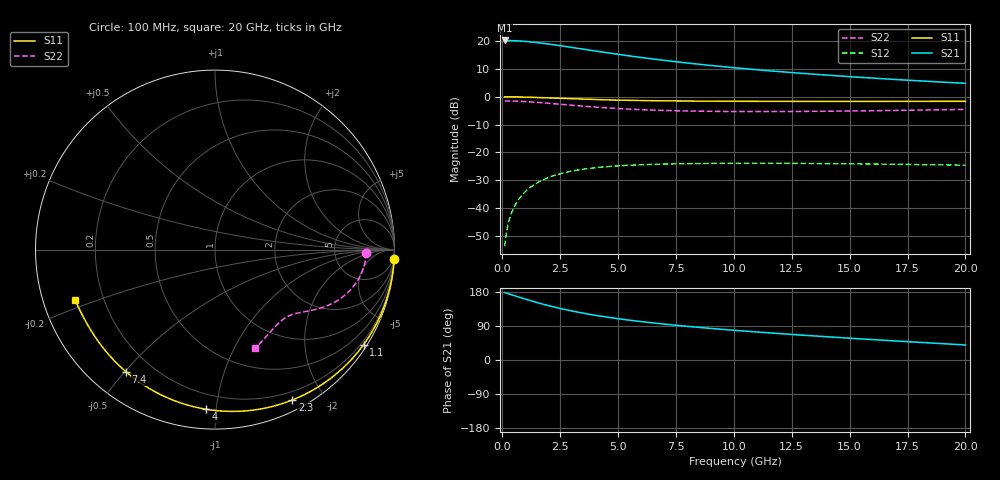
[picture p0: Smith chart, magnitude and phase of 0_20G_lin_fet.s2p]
! Created Fri Aug 22 10:02:00 2025
# hz S ri R 50
! 2 Port Network Data from SP1.SP block
! freq  reS11  imS11  reS21  imS21  reS12  imS12  reS22  imS22
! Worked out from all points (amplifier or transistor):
!   200 points, 100 MHz to 20 GHz, reference 50 ohm
!   highest |S21| = 20.3 dB at 100 MHz (marker M1)
!   |S21| within 3 dB of that: start of sweep to 3.395 GHz
!   unconditionally stable (mu >= 1): nowhere
!   at 3.4 GHz: K = 0.18, MSG = 21.7 dB, |S12| = -26.2 dB
!   at 10.1 GHz: K = 0.52, MSG = 17.2 dB, |S12| = -23.9 dB
!   at 20 GHz: K = 0.93, MSG = 14.7 dB, |S12| = -24.6 dB
!   lowest NFmin = 0.00 dB at 100 MHz
!   S11 on the Smith chart (normalised r, x): 100 MHz: 0, -38; 1.1 GHz: 0.11, -3.42; 2.3 GHz: 0.11, -1.63; 4 GHz: 0.11, -0.94; 7.4 GHz: 0.11, -0.50; 20 GHz: 0.10, -0.17
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1e8  0.9984 -0.0531  -10.3 0.358  6.01e-05 0.00206  0.8431 -0.0165
2e8  0.9938 -0.106  -10.26 0.7141  0.00024 0.0041  0.8419 -0.0329
4e8  0.9753 -0.2097  -10.14 1.413  0.000949 0.00812  0.837 -0.0651
7e8  0.9263 -0.3569  -9.803 2.404  0.00283 0.0138  0.824 -0.1114
1.1e9  0.8283 -0.5291  -9.135 3.561  0.00659 0.0205  0.7979 -0.1666
1.4e9  0.7374 -0.6359  -8.515 4.277  0.0101 0.0246  0.7737 -0.2022
1.7e9  0.6378 -0.7224  -7.836 4.852  0.0139 0.028  0.7471 -0.2324
2e9  0.5345 -0.789  -7.132 5.294  0.0178 0.0306  0.7195 -0.2573
2.3e9  0.4316 -0.8377  -6.43 5.612  0.0218 0.0325  0.6919 -0.2776
2.9e9  0.2377 -0.8907  -5.11 5.946  0.0292 0.0346  0.6397 -0.3064
3.5e9  0.0688 -0.9011  -3.962 5.989  0.0356 0.035  0.5938 -0.324
4e9  -0.0507 -0.8893  -3.151 5.885  0.04 0.0346  0.561 -0.3332
4.6e9  -0.1704 -0.861  -2.34 5.664  0.0445 0.0336  0.5276 -0.3405
5.3e9  -0.2822 -0.8181  -1.586 5.339  0.0486 0.032  0.4956 -0.3465
6e9  -0.3701 -0.7715  -0.9954 4.989  0.0518 0.0303  0.4695 -0.3514
6.8e9  -0.4484 -0.7188  -0.4739 4.593  0.0545 0.0283  0.4452 -0.3572
7.4e9  -0.4952 -0.6813  -0.1648 4.31  0.056 0.027  0.4297 -0.362
8.6e9  -0.5669 -0.6129  0.3006 3.791  0.0582 0.0245  0.4037 -0.3732
1.01e10  -0.6287 -0.5406  0.6877 3.232  0.0597 0.022  0.377 -0.3905
1.34e10  -0.7078 -0.4225  1.131 2.292  0.0604 0.0183  0.327 -0.4381
1.67e10  -0.7509 -0.3416  1.301 1.62  0.0591 0.0165  0.2775 -0.4929
2e10  -0.7789 -0.2823  1.344 1.115  0.0566 0.016  0.223 -0.5498
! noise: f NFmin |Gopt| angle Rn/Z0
1e+08  0.001089  0.9958  0.1476  0.0602
2.3e+09  0.02351  0.9082  3.377  0.06012
4.5e+09  0.04313  0.8271  6.506  0.05987
6.7e+09  0.06028  0.7512  9.441  0.05945
8.9e+09  0.07534  0.6795  12.09  0.05889
1.11e+10  0.08874  0.6109  14.37  0.05821
1.33e+10  0.1009  0.5449  16.18  0.05743
1.55e+10  0.1124  0.4808  17.43  0.05658
1.77e+10  0.1237  0.4181  18  0.05569
2e+10  0.1359  0.3537  17.65  0.05476
